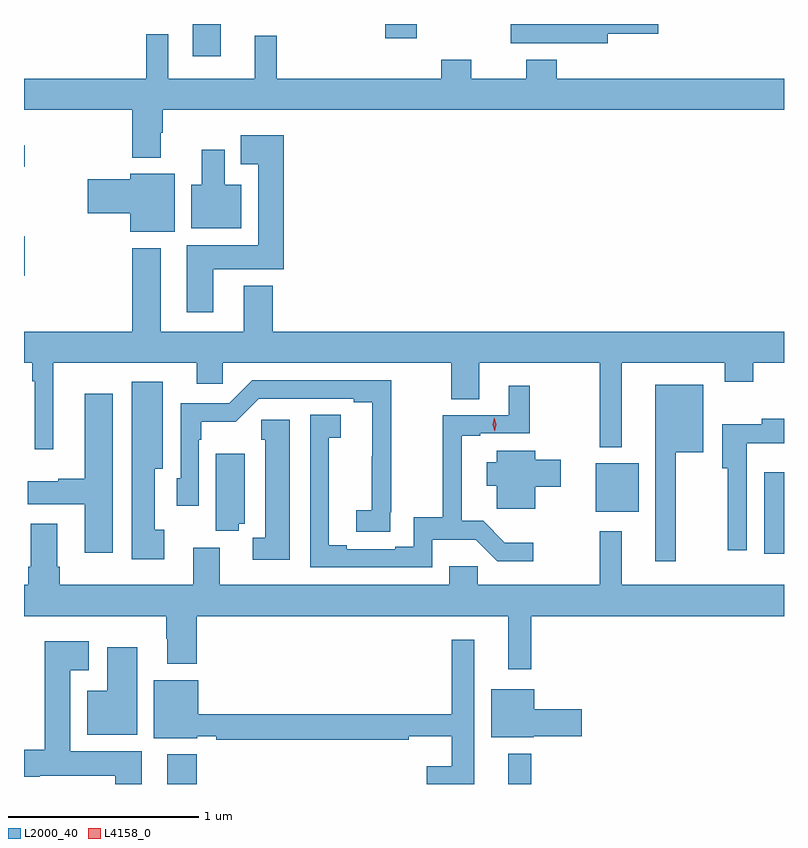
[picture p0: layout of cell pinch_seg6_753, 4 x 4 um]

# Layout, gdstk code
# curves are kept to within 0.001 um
import gdstk
lib = gdstk.Library(unit=1e-6, precision=1e-09)
def R(c, l, rs):  # rectangles x0, y0, x1, y1
    for r in rs: c.add(gdstk.rectangle(r[:2], r[2:], *l))
def P(c, l, *ps):  # polygons
    for p in ps: c.add(gdstk.Polygon(p, *l))
L2000_40 = (2000, 40)
L4158_0 = (4158, 0)

pinch_seg6_753 = lib.new_cell('pinch_seg6_753')
R(pinch_seg6_753, L2000_40, [(326.723,981.084,326.876,981.241), (328.517,981.084,328.639,981.244), (329.864,982.296,329.968,982.726), (328.976,982.517,329.203,982.771), (325.968,983.76,325.973,983.966), (325.968,984.332,325.973,984.445), (326.855,984.914,327.004,985.084), (327.869,985.008,328.034,985.084)])
P(pinch_seg6_753, L2000_40, [(329.041,985.033),(329.307,985.033),(329.307,985.084),(328.53,985.084),(328.53,984.983),(329.041,984.983)],
  [(329.968,984.796),(328.772,984.796),(328.772,984.895),(328.612,984.895),(328.612,984.796),(328.323,984.796),(328.323,984.895),(328.163,984.895),(328.163,984.796),(327.299,984.796),(327.299,985.021),(327.182,985.021),(327.182,984.796),(326.727,984.796),(326.727,985.03),(326.611,985.03),(326.611,984.796),(325.968,984.796),(325.968,984.632),(326.537,984.632),(326.537,984.38),(326.689,984.38),(326.689,984.512),(326.697,984.512),(326.697,984.632),(329.968,984.632)],
  [(326.965,983.792),(327.335,983.792),(327.335,984.499),(327.11,984.499),(327.11,984.347),(327.2,984.347),(327.2,983.92),(326.825,983.92),(326.825,983.568),(326.965,983.568)],
  [(327.112,984.238),(327.025,984.238),(327.025,984.421),(326.903,984.421),(326.903,984.238),(326.849,984.238),(326.849,984.008),(327.112,984.008)],
  [(326.761,984.295),(326.528,984.295),(326.528,984.267),(326.304,984.267),(326.304,984.089),(326.528,984.089),(326.528,983.99),(326.761,983.99)],
  [(326.122,983.3),(326.876,983.3),(326.876,983.19),(327.015,983.19),(327.015,983.3),(328.216,983.3),(328.216,983.11),(328.363,983.11),(328.363,983.3),(328.999,983.3),(328.999,982.856),(329.113,982.856),(329.113,983.3),(329.657,983.3),(329.657,983.201),(329.805,983.201),(329.805,983.3),(329.968,983.3),(329.968,983.464),(327.278,983.464),(327.278,983.707),(327.125,983.707),(327.125,983.464),(326.689,983.464),(326.689,983.905),(326.537,983.905),(326.537,983.464),(325.968,983.464),(325.968,983.3),(326.012,983.3),(326.012,983.204),(326.025,983.204),(326.025,982.845),(326.122,982.845)],
  [(327.896,982.513),(327.902,982.513),(327.902,983.208),(327.168,983.208),(327.048,983.088),(326.793,983.088),(326.793,982.692),(326.772,982.692),(326.772,982.548),(326.889,982.548),(326.889,982.895),(326.902,982.895),(326.902,982.991),(327.083,982.991),(327.204,983.112),(327.704,983.112),(327.704,983.092),(327.8,983.092),(327.799,982.526),(327.717,982.526),(327.717,982.411),(327.896,982.411)],
  [(326.707,982.422),(326.656,982.422),(326.656,982.742),(326.698,982.742),(326.698,983.2),(326.534,983.2),(326.534,982.266),(326.707,982.266)],
  [(329.398,982.829),(329.542,982.829),(329.542,983.185),(329.291,983.185),(329.291,982.257),(329.398,982.257)],
  [(328.116,982.37),(328.345,982.37),(328.458,982.257),(328.648,982.257),(328.648,982.354),(328.499,982.354),(328.384,982.469),(328.273,982.469),(328.273,982.917),(328.369,982.917),(328.369,982.929),(328.63,982.929),(328.63,983.179),(328.52,983.179),(328.52,983.025),(328.171,983.025),(328.171,982.487),(328.02,982.487),(328.02,982.334),(327.923,982.334),(327.923,982.32),(327.667,982.32),(327.667,982.34),(327.571,982.34),(327.571,982.603),(327.573,982.603),(327.573,982.907),(327.634,982.907),(327.634,983.027),(327.474,983.027),(327.474,982.224),(328.116,982.224)],
  [(326.434,983.137),(326.288,983.137),(326.288,982.691),(326.147,982.691),(326.147,982.678),(325.989,982.678),(325.989,982.556),(326.288,982.556),(326.288,982.302),(326.434,982.302)],
  [(329.772,982.877),(329.968,982.877),(329.968,983.007),(329.85,983.007),(329.85,982.978),(329.642,982.978),(329.642,982.745),(329.671,982.745),(329.671,982.314),(329.772,982.314)],
  [(327.367,983.002),(327.217,983.002),(327.217,982.896),(327.239,982.896),(327.239,982.38),(327.171,982.38),(327.171,982.265),(327.367,982.265)],
  [(328.66,982.648),(328.792,982.648),(328.792,982.79),(328.66,982.79),(328.66,982.837),(328.457,982.837),(328.457,982.777),(328.403,982.777),(328.403,982.655),(328.457,982.655),(328.457,982.532),(328.66,982.532)],
  [(327.098,982.454),(327.13,982.454),(327.13,982.822),(326.978,982.822),(326.978,982.417),(327.098,982.417)],
  [(328.639,981.968),(329.968,981.968),(329.968,982.132),(329.113,982.132),(329.113,982.414),(328.999,982.414),(328.999,982.132),(328.357,982.132),(328.357,982.23),(328.205,982.23),(328.205,982.132),(326.998,982.132),(326.998,982.327),(326.858,982.327),(326.858,982.132),(326.156,982.132),(326.156,982.228),(326.143,982.228),(326.143,982.453),(326.003,982.453),(326.003,982.228),(325.991,982.228),(325.991,982.132),(325.968,982.132),(325.968,981.968),(326.716,981.968),(326.716,981.848),(326.723,981.848),(326.723,981.716),(326.876,981.716),(326.876,981.968),(328.517,981.968),(328.517,981.687),(328.639,981.687)],
  [(328.339,981.844),(328.218,981.844),(328.218,981.452),(326.884,981.452),(326.884,981.631),(326.651,981.631),(326.651,981.326),(326.88,981.326),(326.88,981.336),(326.98,981.336),(326.98,981.316),(327.992,981.316),(327.992,981.335),(328.218,981.335),(328.218,981.178),(328.088,981.178),(328.088,981.084),(328.339,981.084)],
  [(326.587,981.256),(326.212,981.256),(326.212,981.683),(326.308,981.683),(326.308,981.835),(326.078,981.835),(326.078,981.263),(325.968,981.263),(325.968,981.121),(326.051,981.121),(326.051,981.128),(326.447,981.128),(326.447,981.084),(326.587,981.084)],
  [(326.563,981.805),(326.405,981.805),(326.405,981.574),(326.3,981.574),(326.3,981.344),(326.563,981.344)],
  [(328.65,981.335),(328.903,981.335),(328.903,981.477),(328.654,981.477),(328.654,981.583),(328.427,981.583),(328.427,981.329),(328.65,981.329)])
P(pinch_seg6_753, L4158_0, [(328.445,982.94),(328.445,982.94),(328.434,982.976),(328.442,983.012),(328.442,983.012),(328.442,983.012),(328.454,982.977),(328.445,982.94)])

lib.write_gds('pinch_seg6_753.gds')
